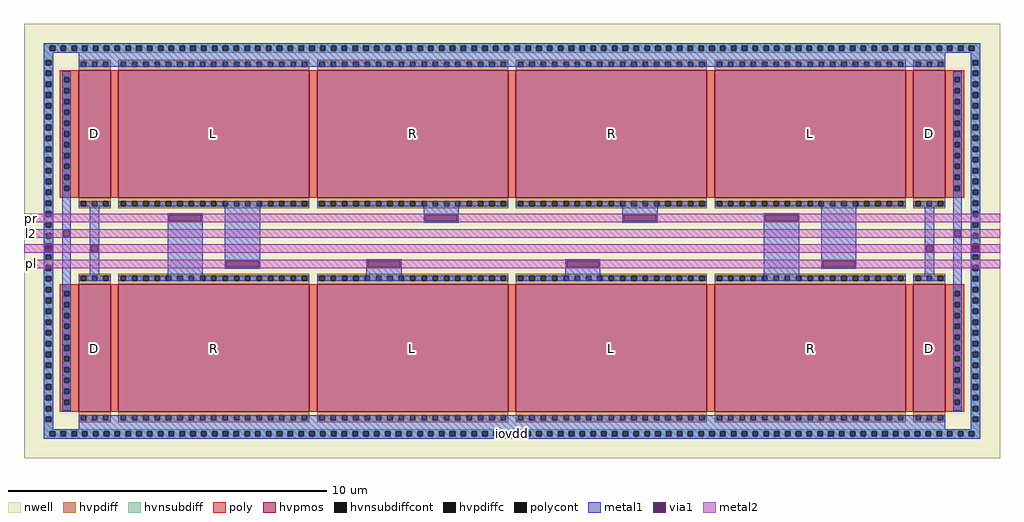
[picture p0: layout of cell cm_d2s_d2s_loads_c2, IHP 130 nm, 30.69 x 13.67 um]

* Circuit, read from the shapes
.subckt cm_d2s_d2s_loads_c2 pl l2 pr iovdd
XM1 iovdd l2 iovdd iovdd sg13_hv_pmos w=1u l=4u m=4
XM2 pr l2 iovdd iovdd sg13_hv_pmos w=6u l=4u m=4
XM3 iovdd l2 pl iovdd sg13_hv_pmos w=6u l=4u m=4
.ends

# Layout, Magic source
magic
tech ihp-sg13cmos5l
magscale 1 2
<< nwell >>
rect 0 0 6138 2734
<< hvnsubdiff >>
rect 124 2596 6014 2610
rect 124 2564 163 2596
rect 195 2564 231 2596
rect 263 2564 299 2596
rect 331 2564 367 2596
rect 399 2564 435 2596
rect 467 2564 503 2596
rect 535 2564 571 2596
rect 603 2564 639 2596
rect 671 2564 707 2596
rect 739 2564 775 2596
rect 807 2564 843 2596
rect 875 2564 911 2596
rect 943 2564 979 2596
rect 1011 2564 1047 2596
rect 1079 2564 1115 2596
rect 1147 2564 1183 2596
rect 1215 2564 1251 2596
rect 1283 2564 1319 2596
rect 1351 2564 1387 2596
rect 1419 2564 1455 2596
rect 1487 2564 1523 2596
rect 1555 2564 1591 2596
rect 1623 2564 1659 2596
rect 1691 2564 1727 2596
rect 1759 2564 1795 2596
rect 1827 2564 1863 2596
rect 1895 2564 1931 2596
rect 1963 2564 1999 2596
rect 2031 2564 2067 2596
rect 2099 2564 2135 2596
rect 2167 2564 2203 2596
rect 2235 2564 2271 2596
rect 2303 2564 2339 2596
rect 2371 2564 2407 2596
rect 2439 2564 2475 2596
rect 2507 2564 2543 2596
rect 2575 2564 2611 2596
rect 2643 2564 2679 2596
rect 2711 2564 2747 2596
rect 2779 2564 2815 2596
rect 2847 2564 2883 2596
rect 2915 2564 2951 2596
rect 2983 2564 3019 2596
rect 3051 2564 3087 2596
rect 3119 2564 3155 2596
rect 3187 2564 3223 2596
rect 3255 2564 3291 2596
rect 3323 2564 3359 2596
rect 3391 2564 3427 2596
rect 3459 2564 3495 2596
rect 3527 2564 3563 2596
rect 3595 2564 3631 2596
rect 3663 2564 3699 2596
rect 3731 2564 3767 2596
rect 3799 2564 3835 2596
rect 3867 2564 3903 2596
rect 3935 2564 3971 2596
rect 4003 2564 4039 2596
rect 4071 2564 4107 2596
rect 4139 2564 4175 2596
rect 4207 2564 4243 2596
rect 4275 2564 4311 2596
rect 4343 2564 4379 2596
rect 4411 2564 4447 2596
rect 4479 2564 4515 2596
rect 4547 2564 4583 2596
rect 4615 2564 4651 2596
rect 4683 2564 4719 2596
rect 4751 2564 4787 2596
rect 4819 2564 4855 2596
rect 4887 2564 4923 2596
rect 4955 2564 4991 2596
rect 5023 2564 5059 2596
rect 5091 2564 5127 2596
rect 5159 2564 5195 2596
rect 5227 2564 5263 2596
rect 5295 2564 5331 2596
rect 5363 2564 5399 2596
rect 5431 2564 5467 2596
rect 5499 2564 5535 2596
rect 5567 2564 5603 2596
rect 5635 2564 5671 2596
rect 5703 2564 5739 2596
rect 5771 2564 5807 2596
rect 5839 2564 5875 2596
rect 5907 2564 5943 2596
rect 5975 2564 6014 2596
rect 124 2550 6014 2564
rect 124 2505 184 2550
rect 124 2473 138 2505
rect 170 2473 184 2505
rect 124 2437 184 2473
rect 5954 2505 6014 2550
rect 5954 2473 5968 2505
rect 6000 2473 6014 2505
rect 124 2405 138 2437
rect 170 2405 184 2437
rect 124 2369 184 2405
rect 124 2337 138 2369
rect 170 2337 184 2369
rect 124 2301 184 2337
rect 124 2269 138 2301
rect 170 2269 184 2301
rect 124 2233 184 2269
rect 124 2201 138 2233
rect 170 2201 184 2233
rect 124 2165 184 2201
rect 124 2133 138 2165
rect 170 2133 184 2165
rect 124 2097 184 2133
rect 124 2065 138 2097
rect 170 2065 184 2097
rect 124 2029 184 2065
rect 124 1997 138 2029
rect 170 1997 184 2029
rect 124 1961 184 1997
rect 124 1929 138 1961
rect 170 1929 184 1961
rect 124 1893 184 1929
rect 124 1861 138 1893
rect 170 1861 184 1893
rect 124 1825 184 1861
rect 124 1793 138 1825
rect 170 1793 184 1825
rect 124 1757 184 1793
rect 124 1725 138 1757
rect 170 1725 184 1757
rect 124 1689 184 1725
rect 124 1657 138 1689
rect 170 1657 184 1689
rect 124 1621 184 1657
rect 5954 2437 6014 2473
rect 5954 2405 5968 2437
rect 6000 2405 6014 2437
rect 5954 2369 6014 2405
rect 5954 2337 5968 2369
rect 6000 2337 6014 2369
rect 5954 2301 6014 2337
rect 5954 2269 5968 2301
rect 6000 2269 6014 2301
rect 5954 2233 6014 2269
rect 5954 2201 5968 2233
rect 6000 2201 6014 2233
rect 5954 2165 6014 2201
rect 5954 2133 5968 2165
rect 6000 2133 6014 2165
rect 5954 2097 6014 2133
rect 5954 2065 5968 2097
rect 6000 2065 6014 2097
rect 5954 2029 6014 2065
rect 5954 1997 5968 2029
rect 6000 1997 6014 2029
rect 5954 1961 6014 1997
rect 5954 1929 5968 1961
rect 6000 1929 6014 1961
rect 5954 1893 6014 1929
rect 5954 1861 5968 1893
rect 6000 1861 6014 1893
rect 5954 1825 6014 1861
rect 5954 1793 5968 1825
rect 6000 1793 6014 1825
rect 5954 1757 6014 1793
rect 5954 1725 5968 1757
rect 6000 1725 6014 1757
rect 5954 1689 6014 1725
rect 5954 1657 5968 1689
rect 6000 1657 6014 1689
rect 124 1589 138 1621
rect 170 1589 184 1621
rect 124 1553 184 1589
rect 124 1521 138 1553
rect 170 1521 184 1553
rect 124 1485 184 1521
rect 124 1453 138 1485
rect 170 1453 184 1485
rect 124 1417 184 1453
rect 124 1385 138 1417
rect 170 1385 184 1417
rect 124 1349 184 1385
rect 124 1317 138 1349
rect 170 1317 184 1349
rect 124 1281 184 1317
rect 124 1249 138 1281
rect 170 1249 184 1281
rect 124 1213 184 1249
rect 124 1181 138 1213
rect 170 1181 184 1213
rect 124 1145 184 1181
rect 124 1113 138 1145
rect 170 1113 184 1145
rect 124 1077 184 1113
rect 5954 1621 6014 1657
rect 5954 1589 5968 1621
rect 6000 1589 6014 1621
rect 5954 1553 6014 1589
rect 5954 1521 5968 1553
rect 6000 1521 6014 1553
rect 5954 1485 6014 1521
rect 5954 1453 5968 1485
rect 6000 1453 6014 1485
rect 5954 1417 6014 1453
rect 5954 1385 5968 1417
rect 6000 1385 6014 1417
rect 5954 1349 6014 1385
rect 5954 1317 5968 1349
rect 6000 1317 6014 1349
rect 5954 1281 6014 1317
rect 5954 1249 5968 1281
rect 6000 1249 6014 1281
rect 5954 1213 6014 1249
rect 5954 1181 5968 1213
rect 6000 1181 6014 1213
rect 5954 1145 6014 1181
rect 5954 1113 5968 1145
rect 6000 1113 6014 1145
rect 124 1045 138 1077
rect 170 1045 184 1077
rect 124 1009 184 1045
rect 124 977 138 1009
rect 170 977 184 1009
rect 124 941 184 977
rect 124 909 138 941
rect 170 909 184 941
rect 124 873 184 909
rect 124 841 138 873
rect 170 841 184 873
rect 124 805 184 841
rect 124 773 138 805
rect 170 773 184 805
rect 124 737 184 773
rect 124 705 138 737
rect 170 705 184 737
rect 124 669 184 705
rect 124 637 138 669
rect 170 637 184 669
rect 124 601 184 637
rect 124 569 138 601
rect 170 569 184 601
rect 124 533 184 569
rect 124 501 138 533
rect 170 501 184 533
rect 124 465 184 501
rect 124 433 138 465
rect 170 433 184 465
rect 124 397 184 433
rect 124 365 138 397
rect 170 365 184 397
rect 124 329 184 365
rect 124 297 138 329
rect 170 297 184 329
rect 124 261 184 297
rect 5954 1077 6014 1113
rect 5954 1045 5968 1077
rect 6000 1045 6014 1077
rect 5954 1009 6014 1045
rect 5954 977 5968 1009
rect 6000 977 6014 1009
rect 5954 941 6014 977
rect 5954 909 5968 941
rect 6000 909 6014 941
rect 5954 873 6014 909
rect 5954 841 5968 873
rect 6000 841 6014 873
rect 5954 805 6014 841
rect 5954 773 5968 805
rect 6000 773 6014 805
rect 5954 737 6014 773
rect 5954 705 5968 737
rect 6000 705 6014 737
rect 5954 669 6014 705
rect 5954 637 5968 669
rect 6000 637 6014 669
rect 5954 601 6014 637
rect 5954 569 5968 601
rect 6000 569 6014 601
rect 5954 533 6014 569
rect 5954 501 5968 533
rect 6000 501 6014 533
rect 5954 465 6014 501
rect 5954 433 5968 465
rect 6000 433 6014 465
rect 5954 397 6014 433
rect 5954 365 5968 397
rect 6000 365 6014 397
rect 5954 329 6014 365
rect 5954 297 5968 329
rect 6000 297 6014 329
rect 124 229 138 261
rect 170 229 184 261
rect 124 184 184 229
rect 5954 261 6014 297
rect 5954 229 5968 261
rect 6000 229 6014 261
rect 5954 184 6014 229
rect 124 170 6014 184
rect 124 138 163 170
rect 195 138 231 170
rect 263 138 299 170
rect 331 138 367 170
rect 399 138 435 170
rect 467 138 503 170
rect 535 138 571 170
rect 603 138 639 170
rect 671 138 707 170
rect 739 138 775 170
rect 807 138 843 170
rect 875 138 911 170
rect 943 138 979 170
rect 1011 138 1047 170
rect 1079 138 1115 170
rect 1147 138 1183 170
rect 1215 138 1251 170
rect 1283 138 1319 170
rect 1351 138 1387 170
rect 1419 138 1455 170
rect 1487 138 1523 170
rect 1555 138 1591 170
rect 1623 138 1659 170
rect 1691 138 1727 170
rect 1759 138 1795 170
rect 1827 138 1863 170
rect 1895 138 1931 170
rect 1963 138 1999 170
rect 2031 138 2067 170
rect 2099 138 2135 170
rect 2167 138 2203 170
rect 2235 138 2271 170
rect 2303 138 2339 170
rect 2371 138 2407 170
rect 2439 138 2475 170
rect 2507 138 2543 170
rect 2575 138 2611 170
rect 2643 138 2679 170
rect 2711 138 2747 170
rect 2779 138 2815 170
rect 2847 138 2883 170
rect 2915 138 2951 170
rect 2983 138 3019 170
rect 3051 138 3087 170
rect 3119 138 3155 170
rect 3187 138 3223 170
rect 3255 138 3291 170
rect 3323 138 3359 170
rect 3391 138 3427 170
rect 3459 138 3495 170
rect 3527 138 3563 170
rect 3595 138 3631 170
rect 3663 138 3699 170
rect 3731 138 3767 170
rect 3799 138 3835 170
rect 3867 138 3903 170
rect 3935 138 3971 170
rect 4003 138 4039 170
rect 4071 138 4107 170
rect 4139 138 4175 170
rect 4207 138 4243 170
rect 4275 138 4311 170
rect 4343 138 4379 170
rect 4411 138 4447 170
rect 4479 138 4515 170
rect 4547 138 4583 170
rect 4615 138 4651 170
rect 4683 138 4719 170
rect 4751 138 4787 170
rect 4819 138 4855 170
rect 4887 138 4923 170
rect 4955 138 4991 170
rect 5023 138 5059 170
rect 5091 138 5127 170
rect 5159 138 5195 170
rect 5227 138 5263 170
rect 5295 138 5331 170
rect 5363 138 5399 170
rect 5431 138 5467 170
rect 5499 138 5535 170
rect 5567 138 5603 170
rect 5635 138 5671 170
rect 5703 138 5739 170
rect 5771 138 5807 170
rect 5839 138 5875 170
rect 5907 138 5943 170
rect 5975 138 6014 170
rect 124 124 6014 138
<< hvnsubdiffcont >>
rect 163 2564 195 2596
rect 231 2564 263 2596
rect 299 2564 331 2596
rect 367 2564 399 2596
rect 435 2564 467 2596
rect 503 2564 535 2596
rect 571 2564 603 2596
rect 639 2564 671 2596
rect 707 2564 739 2596
rect 775 2564 807 2596
rect 843 2564 875 2596
rect 911 2564 943 2596
rect 979 2564 1011 2596
rect 1047 2564 1079 2596
rect 1115 2564 1147 2596
rect 1183 2564 1215 2596
rect 1251 2564 1283 2596
rect 1319 2564 1351 2596
rect 1387 2564 1419 2596
rect 1455 2564 1487 2596
rect 1523 2564 1555 2596
rect 1591 2564 1623 2596
rect 1659 2564 1691 2596
rect 1727 2564 1759 2596
rect 1795 2564 1827 2596
rect 1863 2564 1895 2596
rect 1931 2564 1963 2596
rect 1999 2564 2031 2596
rect 2067 2564 2099 2596
rect 2135 2564 2167 2596
rect 2203 2564 2235 2596
rect 2271 2564 2303 2596
rect 2339 2564 2371 2596
rect 2407 2564 2439 2596
rect 2475 2564 2507 2596
rect 2543 2564 2575 2596
rect 2611 2564 2643 2596
rect 2679 2564 2711 2596
rect 2747 2564 2779 2596
rect 2815 2564 2847 2596
rect 2883 2564 2915 2596
rect 2951 2564 2983 2596
rect 3019 2564 3051 2596
rect 3087 2564 3119 2596
rect 3155 2564 3187 2596
rect 3223 2564 3255 2596
rect 3291 2564 3323 2596
rect 3359 2564 3391 2596
rect 3427 2564 3459 2596
rect 3495 2564 3527 2596
rect 3563 2564 3595 2596
rect 3631 2564 3663 2596
rect 3699 2564 3731 2596
rect 3767 2564 3799 2596
rect 3835 2564 3867 2596
rect 3903 2564 3935 2596
rect 3971 2564 4003 2596
rect 4039 2564 4071 2596
rect 4107 2564 4139 2596
rect 4175 2564 4207 2596
rect 4243 2564 4275 2596
rect 4311 2564 4343 2596
rect 4379 2564 4411 2596
rect 4447 2564 4479 2596
rect 4515 2564 4547 2596
rect 4583 2564 4615 2596
rect 4651 2564 4683 2596
rect 4719 2564 4751 2596
rect 4787 2564 4819 2596
rect 4855 2564 4887 2596
rect 4923 2564 4955 2596
rect 4991 2564 5023 2596
rect 5059 2564 5091 2596
rect 5127 2564 5159 2596
rect 5195 2564 5227 2596
rect 5263 2564 5295 2596
rect 5331 2564 5363 2596
rect 5399 2564 5431 2596
rect 5467 2564 5499 2596
rect 5535 2564 5567 2596
rect 5603 2564 5635 2596
rect 5671 2564 5703 2596
rect 5739 2564 5771 2596
rect 5807 2564 5839 2596
rect 5875 2564 5907 2596
rect 5943 2564 5975 2596
rect 138 2473 170 2505
rect 5968 2473 6000 2505
rect 138 2405 170 2437
rect 138 2337 170 2369
rect 138 2269 170 2301
rect 138 2201 170 2233
rect 138 2133 170 2165
rect 138 2065 170 2097
rect 138 1997 170 2029
rect 138 1929 170 1961
rect 138 1861 170 1893
rect 138 1793 170 1825
rect 138 1725 170 1757
rect 138 1657 170 1689
rect 5968 2405 6000 2437
rect 5968 2337 6000 2369
rect 5968 2269 6000 2301
rect 5968 2201 6000 2233
rect 5968 2133 6000 2165
rect 5968 2065 6000 2097
rect 5968 1997 6000 2029
rect 5968 1929 6000 1961
rect 5968 1861 6000 1893
rect 5968 1793 6000 1825
rect 5968 1725 6000 1757
rect 5968 1657 6000 1689
rect 138 1589 170 1621
rect 138 1521 170 1553
rect 138 1453 170 1485
rect 138 1385 170 1417
rect 138 1317 170 1349
rect 138 1249 170 1281
rect 138 1181 170 1213
rect 138 1113 170 1145
rect 5968 1589 6000 1621
rect 5968 1521 6000 1553
rect 5968 1453 6000 1485
rect 5968 1385 6000 1417
rect 5968 1317 6000 1349
rect 5968 1249 6000 1281
rect 5968 1181 6000 1213
rect 5968 1113 6000 1145
rect 138 1045 170 1077
rect 138 977 170 1009
rect 138 909 170 941
rect 138 841 170 873
rect 138 773 170 805
rect 138 705 170 737
rect 138 637 170 669
rect 138 569 170 601
rect 138 501 170 533
rect 138 433 170 465
rect 138 365 170 397
rect 138 297 170 329
rect 5968 1045 6000 1077
rect 5968 977 6000 1009
rect 5968 909 6000 941
rect 5968 841 6000 873
rect 5968 773 6000 805
rect 5968 705 6000 737
rect 5968 637 6000 669
rect 5968 569 6000 601
rect 5968 501 6000 533
rect 5968 433 6000 465
rect 5968 365 6000 397
rect 5968 297 6000 329
rect 138 229 170 261
rect 5968 229 6000 261
rect 163 138 195 170
rect 231 138 263 170
rect 299 138 331 170
rect 367 138 399 170
rect 435 138 467 170
rect 503 138 535 170
rect 571 138 603 170
rect 639 138 671 170
rect 707 138 739 170
rect 775 138 807 170
rect 843 138 875 170
rect 911 138 943 170
rect 979 138 1011 170
rect 1047 138 1079 170
rect 1115 138 1147 170
rect 1183 138 1215 170
rect 1251 138 1283 170
rect 1319 138 1351 170
rect 1387 138 1419 170
rect 1455 138 1487 170
rect 1523 138 1555 170
rect 1591 138 1623 170
rect 1659 138 1691 170
rect 1727 138 1759 170
rect 1795 138 1827 170
rect 1863 138 1895 170
rect 1931 138 1963 170
rect 1999 138 2031 170
rect 2067 138 2099 170
rect 2135 138 2167 170
rect 2203 138 2235 170
rect 2271 138 2303 170
rect 2339 138 2371 170
rect 2407 138 2439 170
rect 2475 138 2507 170
rect 2543 138 2575 170
rect 2611 138 2643 170
rect 2679 138 2711 170
rect 2747 138 2779 170
rect 2815 138 2847 170
rect 2883 138 2915 170
rect 2951 138 2983 170
rect 3019 138 3051 170
rect 3087 138 3119 170
rect 3155 138 3187 170
rect 3223 138 3255 170
rect 3291 138 3323 170
rect 3359 138 3391 170
rect 3427 138 3459 170
rect 3495 138 3527 170
rect 3563 138 3595 170
rect 3631 138 3663 170
rect 3699 138 3731 170
rect 3767 138 3799 170
rect 3835 138 3867 170
rect 3903 138 3935 170
rect 3971 138 4003 170
rect 4039 138 4071 170
rect 4107 138 4139 170
rect 4175 138 4207 170
rect 4243 138 4275 170
rect 4311 138 4343 170
rect 4379 138 4411 170
rect 4447 138 4479 170
rect 4515 138 4547 170
rect 4583 138 4615 170
rect 4651 138 4683 170
rect 4719 138 4751 170
rect 4787 138 4819 170
rect 4855 138 4887 170
rect 4923 138 4955 170
rect 4991 138 5023 170
rect 5059 138 5091 170
rect 5127 138 5159 170
rect 5195 138 5227 170
rect 5263 138 5295 170
rect 5331 138 5363 170
rect 5399 138 5431 170
rect 5467 138 5499 170
rect 5535 138 5567 170
rect 5603 138 5635 170
rect 5671 138 5703 170
rect 5739 138 5771 170
rect 5807 138 5839 170
rect 5875 138 5907 170
rect 5943 138 5975 170
<< poly >>
rect 224 2396 344 2440
rect 224 2364 252 2396
rect 284 2364 344 2396
rect 224 2328 344 2364
rect 224 2296 252 2328
rect 284 2296 344 2328
rect 224 2260 344 2296
rect 224 2228 252 2260
rect 284 2228 344 2260
rect 224 2192 344 2228
rect 224 2160 252 2192
rect 284 2160 344 2192
rect 224 2124 344 2160
rect 224 2092 252 2124
rect 284 2092 344 2124
rect 224 2056 344 2092
rect 224 2024 252 2056
rect 284 2024 344 2056
rect 224 1988 344 2024
rect 224 1956 252 1988
rect 284 1956 344 1988
rect 224 1920 344 1956
rect 224 1888 252 1920
rect 284 1888 344 1920
rect 224 1852 344 1888
rect 224 1820 252 1852
rect 284 1820 344 1852
rect 224 1784 344 1820
rect 224 1752 252 1784
rect 284 1752 344 1784
rect 224 1716 344 1752
rect 224 1684 252 1716
rect 284 1684 344 1716
rect 224 1640 344 1684
rect 5794 2396 5914 2440
rect 5794 2364 5854 2396
rect 5886 2364 5914 2396
rect 5794 2328 5914 2364
rect 5794 2296 5854 2328
rect 5886 2296 5914 2328
rect 5794 2260 5914 2296
rect 5794 2228 5854 2260
rect 5886 2228 5914 2260
rect 5794 2192 5914 2228
rect 5794 2160 5854 2192
rect 5886 2160 5914 2192
rect 5794 2124 5914 2160
rect 5794 2092 5854 2124
rect 5886 2092 5914 2124
rect 5794 2056 5914 2092
rect 5794 2024 5854 2056
rect 5886 2024 5914 2056
rect 5794 1988 5914 2024
rect 5794 1956 5854 1988
rect 5886 1956 5914 1988
rect 5794 1920 5914 1956
rect 5794 1888 5854 1920
rect 5886 1888 5914 1920
rect 5794 1852 5914 1888
rect 5794 1820 5854 1852
rect 5886 1820 5914 1852
rect 5794 1784 5914 1820
rect 5794 1752 5854 1784
rect 5886 1752 5914 1784
rect 5794 1716 5914 1752
rect 5794 1684 5854 1716
rect 5886 1684 5914 1716
rect 5794 1640 5914 1684
rect 224 1050 344 1094
rect 224 1018 252 1050
rect 284 1018 344 1050
rect 224 982 344 1018
rect 224 950 252 982
rect 284 950 344 982
rect 224 914 344 950
rect 224 882 252 914
rect 284 882 344 914
rect 224 846 344 882
rect 224 814 252 846
rect 284 814 344 846
rect 224 778 344 814
rect 224 746 252 778
rect 284 746 344 778
rect 224 710 344 746
rect 224 678 252 710
rect 284 678 344 710
rect 224 642 344 678
rect 224 610 252 642
rect 284 610 344 642
rect 224 574 344 610
rect 224 542 252 574
rect 284 542 344 574
rect 224 506 344 542
rect 224 474 252 506
rect 284 474 344 506
rect 224 438 344 474
rect 224 406 252 438
rect 284 406 344 438
rect 224 370 344 406
rect 224 338 252 370
rect 284 338 344 370
rect 224 294 344 338
rect 5794 1050 5914 1094
rect 5794 1018 5854 1050
rect 5886 1018 5914 1050
rect 5794 982 5914 1018
rect 5794 950 5854 982
rect 5886 950 5914 982
rect 5794 914 5914 950
rect 5794 882 5854 914
rect 5886 882 5914 914
rect 5794 846 5914 882
rect 5794 814 5854 846
rect 5886 814 5914 846
rect 5794 778 5914 814
rect 5794 746 5854 778
rect 5886 746 5914 778
rect 5794 710 5914 746
rect 5794 678 5854 710
rect 5886 678 5914 710
rect 5794 642 5914 678
rect 5794 610 5854 642
rect 5886 610 5914 642
rect 5794 574 5914 610
rect 5794 542 5854 574
rect 5886 542 5914 574
rect 5794 506 5914 542
rect 5794 474 5854 506
rect 5886 474 5914 506
rect 5794 438 5914 474
rect 5794 406 5854 438
rect 5886 406 5914 438
rect 5794 370 5914 406
rect 5794 338 5854 370
rect 5886 338 5914 370
rect 5794 294 5914 338
<< polycont >>
rect 252 2364 284 2396
rect 252 2296 284 2328
rect 252 2228 284 2260
rect 252 2160 284 2192
rect 252 2092 284 2124
rect 252 2024 284 2056
rect 252 1956 284 1988
rect 252 1888 284 1920
rect 252 1820 284 1852
rect 252 1752 284 1784
rect 252 1684 284 1716
rect 5854 2364 5886 2396
rect 5854 2296 5886 2328
rect 5854 2228 5886 2260
rect 5854 2160 5886 2192
rect 5854 2092 5886 2124
rect 5854 2024 5886 2056
rect 5854 1956 5886 1988
rect 5854 1888 5886 1920
rect 5854 1820 5886 1852
rect 5854 1752 5886 1784
rect 5854 1684 5886 1716
rect 252 1018 284 1050
rect 252 950 284 982
rect 252 882 284 914
rect 252 814 284 846
rect 252 746 284 778
rect 252 678 284 710
rect 252 610 284 642
rect 252 542 284 574
rect 252 474 284 506
rect 252 406 284 438
rect 252 338 284 370
rect 5854 1018 5886 1050
rect 5854 950 5886 982
rect 5854 882 5886 914
rect 5854 814 5886 846
rect 5854 746 5886 778
rect 5854 678 5886 710
rect 5854 610 5886 642
rect 5854 542 5886 574
rect 5854 474 5886 506
rect 5854 406 5886 438
rect 5854 338 5886 370
<< metal1 >>
rect 124 2596 6014 2610
rect 124 2564 163 2596
rect 195 2564 231 2596
rect 263 2564 299 2596
rect 331 2564 367 2596
rect 399 2564 435 2596
rect 467 2564 503 2596
rect 535 2564 571 2596
rect 603 2564 639 2596
rect 671 2564 707 2596
rect 739 2564 775 2596
rect 807 2564 843 2596
rect 875 2564 911 2596
rect 943 2564 979 2596
rect 1011 2564 1047 2596
rect 1079 2564 1115 2596
rect 1147 2564 1183 2596
rect 1215 2564 1251 2596
rect 1283 2564 1319 2596
rect 1351 2564 1387 2596
rect 1419 2564 1455 2596
rect 1487 2564 1523 2596
rect 1555 2564 1591 2596
rect 1623 2564 1659 2596
rect 1691 2564 1727 2596
rect 1759 2564 1795 2596
rect 1827 2564 1863 2596
rect 1895 2564 1931 2596
rect 1963 2564 1999 2596
rect 2031 2564 2067 2596
rect 2099 2564 2135 2596
rect 2167 2564 2203 2596
rect 2235 2564 2271 2596
rect 2303 2564 2339 2596
rect 2371 2564 2407 2596
rect 2439 2564 2475 2596
rect 2507 2564 2543 2596
rect 2575 2564 2611 2596
rect 2643 2564 2679 2596
rect 2711 2564 2747 2596
rect 2779 2564 2815 2596
rect 2847 2564 2883 2596
rect 2915 2564 2951 2596
rect 2983 2564 3019 2596
rect 3051 2564 3087 2596
rect 3119 2564 3155 2596
rect 3187 2564 3223 2596
rect 3255 2564 3291 2596
rect 3323 2564 3359 2596
rect 3391 2564 3427 2596
rect 3459 2564 3495 2596
rect 3527 2564 3563 2596
rect 3595 2564 3631 2596
rect 3663 2564 3699 2596
rect 3731 2564 3767 2596
rect 3799 2564 3835 2596
rect 3867 2564 3903 2596
rect 3935 2564 3971 2596
rect 4003 2564 4039 2596
rect 4071 2564 4107 2596
rect 4139 2564 4175 2596
rect 4207 2564 4243 2596
rect 4275 2564 4311 2596
rect 4343 2564 4379 2596
rect 4411 2564 4447 2596
rect 4479 2564 4515 2596
rect 4547 2564 4583 2596
rect 4615 2564 4651 2596
rect 4683 2564 4719 2596
rect 4751 2564 4787 2596
rect 4819 2564 4855 2596
rect 4887 2564 4923 2596
rect 4955 2564 4991 2596
rect 5023 2564 5059 2596
rect 5091 2564 5127 2596
rect 5159 2564 5195 2596
rect 5227 2564 5263 2596
rect 5295 2564 5331 2596
rect 5363 2564 5399 2596
rect 5431 2564 5467 2596
rect 5499 2564 5535 2596
rect 5567 2564 5603 2596
rect 5635 2564 5671 2596
rect 5703 2564 5739 2596
rect 5771 2564 5807 2596
rect 5839 2564 5875 2596
rect 5907 2564 5943 2596
rect 5975 2564 6014 2596
rect 124 2550 6014 2564
rect 124 2505 184 2550
rect 124 2473 138 2505
rect 170 2473 184 2505
rect 124 2437 184 2473
rect 344 2462 5794 2550
rect 5954 2505 6014 2550
rect 5954 2473 5968 2505
rect 6000 2473 6014 2505
rect 124 2405 138 2437
rect 170 2405 184 2437
rect 5954 2437 6014 2473
rect 124 2369 184 2405
rect 124 2337 138 2369
rect 170 2337 184 2369
rect 124 2301 184 2337
rect 124 2269 138 2301
rect 170 2269 184 2301
rect 124 2233 184 2269
rect 124 2201 138 2233
rect 170 2201 184 2233
rect 124 2165 184 2201
rect 124 2133 138 2165
rect 170 2133 184 2165
rect 124 2097 184 2133
rect 124 2065 138 2097
rect 170 2065 184 2097
rect 124 2029 184 2065
rect 124 1997 138 2029
rect 170 1997 184 2029
rect 124 1961 184 1997
rect 124 1929 138 1961
rect 170 1929 184 1961
rect 124 1893 184 1929
rect 124 1861 138 1893
rect 170 1861 184 1893
rect 124 1825 184 1861
rect 124 1793 138 1825
rect 170 1793 184 1825
rect 124 1757 184 1793
rect 124 1725 138 1757
rect 170 1725 184 1757
rect 124 1689 184 1725
rect 124 1657 138 1689
rect 170 1657 184 1689
rect 124 1621 184 1657
rect 124 1589 138 1621
rect 170 1589 184 1621
rect 124 1553 184 1589
rect 124 1521 138 1553
rect 170 1521 184 1553
rect 124 1485 184 1521
rect 124 1453 138 1485
rect 170 1453 184 1485
rect 124 1417 184 1453
rect 124 1385 138 1417
rect 170 1385 184 1417
rect 124 1349 184 1385
rect 124 1339 138 1349
rect 170 1339 184 1349
rect 124 1299 134 1339
rect 174 1299 184 1339
rect 124 1281 184 1299
rect 124 1249 138 1281
rect 170 1249 184 1281
rect 124 1213 184 1249
rect 124 1181 138 1213
rect 170 1181 184 1213
rect 124 1145 184 1181
rect 124 1113 138 1145
rect 170 1113 184 1145
rect 124 1077 184 1113
rect 124 1045 138 1077
rect 170 1045 184 1077
rect 124 1009 184 1045
rect 124 977 138 1009
rect 170 977 184 1009
rect 124 941 184 977
rect 124 909 138 941
rect 170 909 184 941
rect 124 873 184 909
rect 124 841 138 873
rect 170 841 184 873
rect 124 805 184 841
rect 124 773 138 805
rect 170 773 184 805
rect 124 737 184 773
rect 124 705 138 737
rect 170 705 184 737
rect 124 669 184 705
rect 124 637 138 669
rect 170 637 184 669
rect 124 601 184 637
rect 124 569 138 601
rect 170 569 184 601
rect 124 533 184 569
rect 124 501 138 533
rect 170 501 184 533
rect 124 465 184 501
rect 124 433 138 465
rect 170 433 184 465
rect 124 397 184 433
rect 124 365 138 397
rect 170 365 184 397
rect 124 329 184 365
rect 124 297 138 329
rect 170 297 184 329
rect 242 2396 294 2436
rect 242 2364 252 2396
rect 284 2364 294 2396
rect 242 2328 294 2364
rect 242 2296 252 2328
rect 284 2296 294 2328
rect 242 2260 294 2296
rect 242 2228 252 2260
rect 284 2228 294 2260
rect 242 2192 294 2228
rect 242 2160 252 2192
rect 284 2160 294 2192
rect 242 2124 294 2160
rect 242 2092 252 2124
rect 284 2092 294 2124
rect 242 2056 294 2092
rect 242 2024 252 2056
rect 284 2024 294 2056
rect 242 1988 294 2024
rect 242 1956 252 1988
rect 284 1956 294 1988
rect 242 1920 294 1956
rect 242 1888 252 1920
rect 284 1888 294 1920
rect 242 1852 294 1888
rect 242 1820 252 1852
rect 284 1820 294 1852
rect 242 1784 294 1820
rect 242 1752 252 1784
rect 284 1752 294 1784
rect 242 1716 294 1752
rect 242 1684 252 1716
rect 284 1684 294 1716
rect 242 1435 294 1684
rect 5844 2396 5896 2436
rect 5844 2364 5854 2396
rect 5886 2364 5896 2396
rect 5844 2328 5896 2364
rect 5844 2296 5854 2328
rect 5886 2296 5896 2328
rect 5844 2260 5896 2296
rect 5844 2228 5854 2260
rect 5886 2228 5896 2260
rect 5844 2192 5896 2228
rect 5844 2160 5854 2192
rect 5886 2160 5896 2192
rect 5844 2124 5896 2160
rect 5844 2092 5854 2124
rect 5886 2092 5896 2124
rect 5844 2056 5896 2092
rect 5844 2024 5854 2056
rect 5886 2024 5896 2056
rect 5844 1988 5896 2024
rect 5844 1956 5854 1988
rect 5886 1956 5896 1988
rect 5844 1920 5896 1956
rect 5844 1888 5854 1920
rect 5886 1888 5896 1920
rect 5844 1852 5896 1888
rect 5844 1820 5854 1852
rect 5886 1820 5896 1852
rect 5844 1784 5896 1820
rect 5844 1752 5854 1784
rect 5886 1752 5896 1784
rect 5844 1716 5896 1752
rect 5844 1684 5854 1716
rect 5886 1684 5896 1716
rect 242 1395 248 1435
rect 288 1395 294 1435
rect 242 1050 294 1395
rect 415 1339 473 1618
rect 415 1299 424 1339
rect 464 1299 473 1339
rect 415 1116 473 1299
rect 903 1531 1125 1540
rect 903 1491 912 1531
rect 1116 1491 1125 1531
rect 903 1116 1125 1491
rect 1263 1243 1485 1618
rect 2513 1531 2735 1618
rect 2513 1491 2522 1531
rect 2726 1491 2735 1531
rect 2513 1482 2735 1491
rect 3763 1531 3985 1618
rect 3763 1491 3772 1531
rect 3976 1491 3985 1531
rect 3763 1482 3985 1491
rect 4653 1531 4875 1540
rect 4653 1491 4662 1531
rect 4866 1491 4875 1531
rect 1263 1203 1272 1243
rect 1476 1203 1485 1243
rect 1263 1194 1485 1203
rect 2153 1243 2375 1252
rect 2153 1203 2162 1243
rect 2366 1203 2375 1243
rect 2153 1116 2375 1203
rect 3403 1243 3625 1252
rect 3403 1203 3412 1243
rect 3616 1203 3625 1243
rect 3403 1116 3625 1203
rect 4653 1116 4875 1491
rect 5013 1243 5235 1618
rect 5013 1203 5022 1243
rect 5226 1203 5235 1243
rect 5013 1194 5235 1203
rect 5665 1339 5723 1618
rect 5665 1299 5674 1339
rect 5714 1299 5723 1339
rect 5665 1116 5723 1299
rect 5844 1435 5896 1684
rect 5844 1395 5850 1435
rect 5890 1395 5896 1435
rect 242 1018 252 1050
rect 284 1018 294 1050
rect 242 982 294 1018
rect 242 950 252 982
rect 284 950 294 982
rect 242 914 294 950
rect 242 882 252 914
rect 284 882 294 914
rect 242 846 294 882
rect 242 814 252 846
rect 284 814 294 846
rect 242 778 294 814
rect 242 746 252 778
rect 284 746 294 778
rect 242 710 294 746
rect 242 678 252 710
rect 284 678 294 710
rect 242 642 294 678
rect 242 610 252 642
rect 284 610 294 642
rect 242 574 294 610
rect 242 542 252 574
rect 284 542 294 574
rect 242 506 294 542
rect 242 474 252 506
rect 284 474 294 506
rect 242 438 294 474
rect 242 406 252 438
rect 284 406 294 438
rect 242 370 294 406
rect 242 338 252 370
rect 284 338 294 370
rect 242 298 294 338
rect 5844 1050 5896 1395
rect 5844 1018 5854 1050
rect 5886 1018 5896 1050
rect 5844 982 5896 1018
rect 5844 950 5854 982
rect 5886 950 5896 982
rect 5844 914 5896 950
rect 5844 882 5854 914
rect 5886 882 5896 914
rect 5844 846 5896 882
rect 5844 814 5854 846
rect 5886 814 5896 846
rect 5844 778 5896 814
rect 5844 746 5854 778
rect 5886 746 5896 778
rect 5844 710 5896 746
rect 5844 678 5854 710
rect 5886 678 5896 710
rect 5844 642 5896 678
rect 5844 610 5854 642
rect 5886 610 5896 642
rect 5844 574 5896 610
rect 5844 542 5854 574
rect 5886 542 5896 574
rect 5844 506 5896 542
rect 5844 474 5854 506
rect 5886 474 5896 506
rect 5844 438 5896 474
rect 5844 406 5854 438
rect 5886 406 5896 438
rect 5844 370 5896 406
rect 5844 338 5854 370
rect 5886 338 5896 370
rect 5844 298 5896 338
rect 5954 2405 5968 2437
rect 6000 2405 6014 2437
rect 5954 2369 6014 2405
rect 5954 2337 5968 2369
rect 6000 2337 6014 2369
rect 5954 2301 6014 2337
rect 5954 2269 5968 2301
rect 6000 2269 6014 2301
rect 5954 2233 6014 2269
rect 5954 2201 5968 2233
rect 6000 2201 6014 2233
rect 5954 2165 6014 2201
rect 5954 2133 5968 2165
rect 6000 2133 6014 2165
rect 5954 2097 6014 2133
rect 5954 2065 5968 2097
rect 6000 2065 6014 2097
rect 5954 2029 6014 2065
rect 5954 1997 5968 2029
rect 6000 1997 6014 2029
rect 5954 1961 6014 1997
rect 5954 1929 5968 1961
rect 6000 1929 6014 1961
rect 5954 1893 6014 1929
rect 5954 1861 5968 1893
rect 6000 1861 6014 1893
rect 5954 1825 6014 1861
rect 5954 1793 5968 1825
rect 6000 1793 6014 1825
rect 5954 1757 6014 1793
rect 5954 1725 5968 1757
rect 6000 1725 6014 1757
rect 5954 1689 6014 1725
rect 5954 1657 5968 1689
rect 6000 1657 6014 1689
rect 5954 1621 6014 1657
rect 5954 1589 5968 1621
rect 6000 1589 6014 1621
rect 5954 1553 6014 1589
rect 5954 1521 5968 1553
rect 6000 1521 6014 1553
rect 5954 1485 6014 1521
rect 5954 1453 5968 1485
rect 6000 1453 6014 1485
rect 5954 1417 6014 1453
rect 5954 1385 5968 1417
rect 6000 1385 6014 1417
rect 5954 1349 6014 1385
rect 5954 1339 5968 1349
rect 6000 1339 6014 1349
rect 5954 1299 5964 1339
rect 6004 1299 6014 1339
rect 5954 1281 6014 1299
rect 5954 1249 5968 1281
rect 6000 1249 6014 1281
rect 5954 1213 6014 1249
rect 5954 1181 5968 1213
rect 6000 1181 6014 1213
rect 5954 1145 6014 1181
rect 5954 1113 5968 1145
rect 6000 1113 6014 1145
rect 5954 1077 6014 1113
rect 5954 1045 5968 1077
rect 6000 1045 6014 1077
rect 5954 1009 6014 1045
rect 5954 977 5968 1009
rect 6000 977 6014 1009
rect 5954 941 6014 977
rect 5954 909 5968 941
rect 6000 909 6014 941
rect 5954 873 6014 909
rect 5954 841 5968 873
rect 6000 841 6014 873
rect 5954 805 6014 841
rect 5954 773 5968 805
rect 6000 773 6014 805
rect 5954 737 6014 773
rect 5954 705 5968 737
rect 6000 705 6014 737
rect 5954 669 6014 705
rect 5954 637 5968 669
rect 6000 637 6014 669
rect 5954 601 6014 637
rect 5954 569 5968 601
rect 6000 569 6014 601
rect 5954 533 6014 569
rect 5954 501 5968 533
rect 6000 501 6014 533
rect 5954 465 6014 501
rect 5954 433 5968 465
rect 6000 433 6014 465
rect 5954 397 6014 433
rect 5954 365 5968 397
rect 6000 365 6014 397
rect 5954 329 6014 365
rect 124 261 184 297
rect 5954 297 5968 329
rect 6000 297 6014 329
rect 124 229 138 261
rect 170 229 184 261
rect 124 184 184 229
rect 344 184 5794 272
rect 5954 261 6014 297
rect 5954 229 5968 261
rect 6000 229 6014 261
rect 5954 184 6014 229
rect 124 170 6014 184
rect 124 138 163 170
rect 195 138 231 170
rect 263 138 299 170
rect 331 138 367 170
rect 399 138 435 170
rect 467 138 503 170
rect 535 138 571 170
rect 603 138 639 170
rect 671 138 707 170
rect 739 138 775 170
rect 807 138 843 170
rect 875 138 911 170
rect 943 138 979 170
rect 1011 138 1047 170
rect 1079 138 1115 170
rect 1147 138 1183 170
rect 1215 138 1251 170
rect 1283 138 1319 170
rect 1351 138 1387 170
rect 1419 138 1455 170
rect 1487 138 1523 170
rect 1555 138 1591 170
rect 1623 138 1659 170
rect 1691 138 1727 170
rect 1759 138 1795 170
rect 1827 138 1863 170
rect 1895 138 1931 170
rect 1963 138 1999 170
rect 2031 138 2067 170
rect 2099 138 2135 170
rect 2167 138 2203 170
rect 2235 138 2271 170
rect 2303 138 2339 170
rect 2371 138 2407 170
rect 2439 138 2475 170
rect 2507 138 2543 170
rect 2575 138 2611 170
rect 2643 138 2679 170
rect 2711 138 2747 170
rect 2779 138 2815 170
rect 2847 138 2883 170
rect 2915 138 2951 170
rect 2983 138 3019 170
rect 3051 138 3087 170
rect 3119 138 3155 170
rect 3187 138 3223 170
rect 3255 138 3291 170
rect 3323 138 3359 170
rect 3391 138 3427 170
rect 3459 138 3495 170
rect 3527 138 3563 170
rect 3595 138 3631 170
rect 3663 138 3699 170
rect 3731 138 3767 170
rect 3799 138 3835 170
rect 3867 138 3903 170
rect 3935 138 3971 170
rect 4003 138 4039 170
rect 4071 138 4107 170
rect 4139 138 4175 170
rect 4207 138 4243 170
rect 4275 138 4311 170
rect 4343 138 4379 170
rect 4411 138 4447 170
rect 4479 138 4515 170
rect 4547 138 4583 170
rect 4615 138 4651 170
rect 4683 138 4719 170
rect 4751 138 4787 170
rect 4819 138 4855 170
rect 4887 138 4923 170
rect 4955 138 4991 170
rect 5023 138 5059 170
rect 5091 138 5127 170
rect 5159 138 5195 170
rect 5227 138 5263 170
rect 5295 138 5331 170
rect 5363 138 5399 170
rect 5431 138 5467 170
rect 5499 138 5535 170
rect 5567 138 5603 170
rect 5635 138 5671 170
rect 5703 138 5739 170
rect 5771 138 5807 170
rect 5839 138 5875 170
rect 5907 138 5943 170
rect 5975 138 6014 170
rect 124 124 6014 138
<< via1 >>
rect 134 1317 138 1339
rect 138 1317 170 1339
rect 170 1317 174 1339
rect 134 1299 174 1317
rect 248 1395 288 1435
rect 424 1299 464 1339
rect 912 1491 1116 1531
rect 2522 1491 2726 1531
rect 3772 1491 3976 1531
rect 4662 1491 4866 1531
rect 1272 1203 1476 1243
rect 2162 1203 2366 1243
rect 3412 1203 3616 1243
rect 5022 1203 5226 1243
rect 5674 1299 5714 1339
rect 5850 1395 5890 1435
rect 5964 1317 5968 1339
rect 5968 1317 6000 1339
rect 6000 1317 6004 1339
rect 5964 1299 6004 1317
<< metal2 >>
rect 0 1531 6138 1537
rect 0 1491 912 1531
rect 1116 1491 2522 1531
rect 2726 1491 3772 1531
rect 3976 1491 4662 1531
rect 4866 1491 6138 1531
rect 0 1485 6138 1491
rect 0 1435 6138 1441
rect 0 1395 248 1435
rect 288 1395 5850 1435
rect 5890 1395 6138 1435
rect 0 1389 6138 1395
rect 0 1339 6138 1345
rect 0 1299 134 1339
rect 174 1299 424 1339
rect 464 1299 5674 1339
rect 5714 1299 5964 1339
rect 6004 1299 6138 1339
rect 0 1293 6138 1299
rect 0 1243 6138 1249
rect 0 1203 1272 1243
rect 1476 1203 2162 1243
rect 2366 1203 3412 1243
rect 3616 1203 5022 1243
rect 5226 1203 6138 1243
rect 0 1197 6138 1203
use cm_d2s_pmosHV_w1_l4  cm_d2s_pmosHV_w1_l4_0
transform 0 -1 544 -1 0 2508
box -124 -124 1060 324
use cm_d2s_pmosHV_w1_l4  cm_d2s_pmosHV_w1_l4_1
transform 0 1 5594 1 0 226
box -124 -124 1060 324
use cm_d2s_pmosHV_w1_l4  cm_d2s_pmosHV_w1_l4_2
transform 0 1 5594 -1 0 2508
box -124 -124 1060 324
use cm_d2s_pmosHV_w1_l4  cm_d2s_pmosHV_w1_l4_3
transform 0 -1 544 1 0 226
box -124 -124 1060 324
use cm_d2s_pmosHV_w6_l4  cm_d2s_pmosHV_w6_l4_0
transform 0 -1 3044 -1 0 2508
box -124 -124 1060 1324
use cm_d2s_pmosHV_w6_l4  cm_d2s_pmosHV_w6_l4_1
transform 0 -1 1794 -1 0 2508
box -124 -124 1060 1324
use cm_d2s_pmosHV_w6_l4  cm_d2s_pmosHV_w6_l4_2
transform 0 1 4344 1 0 226
box -124 -124 1060 1324
use cm_d2s_pmosHV_w6_l4  cm_d2s_pmosHV_w6_l4_3
transform 0 1 3094 1 0 226
box -124 -124 1060 1324
use cm_d2s_pmosHV_w6_l4  cm_d2s_pmosHV_w6_l4_4
transform 0 1 4344 -1 0 2508
box -124 -124 1060 1324
use cm_d2s_pmosHV_w6_l4  cm_d2s_pmosHV_w6_l4_5
transform 0 1 3094 -1 0 2508
box -124 -124 1060 1324
use cm_d2s_pmosHV_w6_l4  cm_d2s_pmosHV_w6_l4_6
transform 0 -1 3044 1 0 226
box -124 -124 1060 1324
use cm_d2s_pmosHV_w6_l4  cm_d2s_pmosHV_w6_l4_7
transform 0 -1 1794 1 0 226
box -124 -124 1060 1324
<< labels >>
rlabel comment s 444 694 444 694 4 D
rlabel comment s 1194 694 1194 694 4 R
rlabel comment s 2444 694 2444 694 4 L
rlabel comment s 3694 694 3694 694 4 L
rlabel comment s 4944 694 4944 694 4 R
rlabel comment s 5694 694 5694 694 4 D
rlabel comment s 444 2040 444 2040 4 D
rlabel comment s 1194 2040 1194 2040 4 L
rlabel comment s 2444 2040 2444 2040 4 R
rlabel comment s 3694 2040 3694 2040 4 R
rlabel comment s 4944 2040 4944 2040 4 L
rlabel comment s 5694 2040 5694 2040 4 D
rlabel metal2 s 0 1197 100 1249 4 pl
port 2 nsew
rlabel metal2 s 0 1389 100 1441 4 l2
port 3 nsew
rlabel metal2 s 0 1485 100 1537 4 pr
port 4 nsew
rlabel metal1 s 2869 124 3269 184 4 iovdd
port 5 nsew
<< properties >>
string GDS_END 110538
string GDS_FILE custom_io/gds/sg13cmos5l_IOPadDiff2Single.uniq.gds
string GDS_START 86522
<< end >>

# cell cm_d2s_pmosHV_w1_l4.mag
magic
tech ihp-sg13cmos5l
<< nwell >>
rect -62 -62 530 162
<< hvpmos >>
rect 34 0 434 100
<< hvpdiff >>
rect 0 93 34 100
rect 0 77 7 93
rect 23 77 34 93
rect 0 58 34 77
rect 0 42 7 58
rect 23 42 34 58
rect 0 23 34 42
rect 0 7 7 23
rect 23 7 34 23
rect 0 0 34 7
rect 434 93 468 100
rect 434 77 445 93
rect 461 77 468 93
rect 434 58 468 77
rect 434 42 445 58
rect 461 42 468 58
rect 434 23 468 42
rect 434 7 445 23
rect 461 7 468 23
rect 434 0 468 7
<< hvpdiffc >>
rect 7 77 23 93
rect 7 42 23 58
rect 7 7 23 23
rect 445 77 461 93
rect 445 42 461 58
rect 445 7 461 23
<< poly >>
rect 34 100 434 118
rect 34 -18 434 0
<< metal1 >>
rect 7 93 23 100
rect 7 58 23 77
rect 7 23 23 42
rect 7 0 23 7
rect 445 93 461 100
rect 445 58 461 77
rect 445 23 461 42
rect 445 0 461 7
<< labels >>
flabel comment s 234 50 234 50 0 FreeSans 100 90 0 0 pmosHV
<< properties >>
string GDS_END 19624
string GDS_FILE custom_io/gds/sg13cmos5l_IOPadDiff2Single.uniq.gds
string GDS_START 18262
<< end >>

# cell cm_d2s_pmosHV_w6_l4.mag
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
